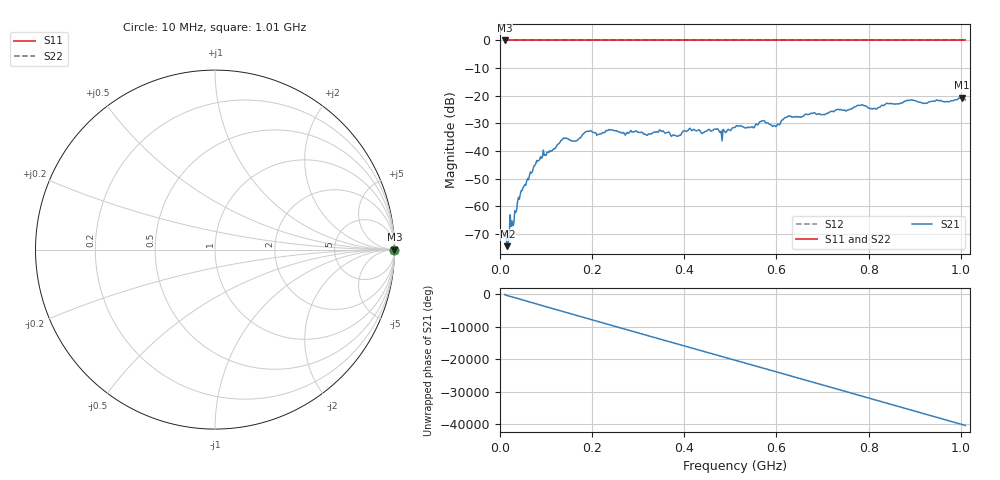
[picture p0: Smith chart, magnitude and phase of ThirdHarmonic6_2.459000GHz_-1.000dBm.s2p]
! 8/17/2025 4:26:54 AM
! C:\ANRITSUVNA\TEMP\TEMP.S2P
! CHANNEL.1
! TR.MEASUREMENT
! RAW.DATA
! RF.CORRECTION.OFF
! AVERAGING.OFF
! IF.BANDWIDTH: 5KHZ
! SWEEPTYPE:  FREQ.SWEEP(Linear)
! Reference Plane Port Info
! PORT:  PORT1  PORT2
! DISTANCE:  0  m  0  m
! TIME:  0  s  0  s
! PHASE.OFFSET:  0  deg.  0  deg.
! LOSS:  0  dB  0  dB
! REF.LOSS:  0  dB  0  dB
! REF.FREQ:  0  Hz  0  Hz
! Power Info
! POWER:  -20  dBm  -20  dBm
! EFF.POWER:  -20  dBm  -20  dBm
! SOURCE.ATTEN:  0  dB  0  dB
! TEST.ATTEN:  0  dB  0  dB
# GHZ S RI R 50.0
! FREQ.GHZ  S11RE  S11IM  S21RE  S21IM  S12RE  S12IM  S22RE  S22IM
!; PortSelection: Port_12
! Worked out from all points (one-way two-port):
!   501 points, 10 MHz to 1.01 GHz, reference 50 ohm
!   highest |S21| = -20.69 dB at 1.002 GHz (marker M1); lowest = -74.5 dB at 16 MHz (marker M2)
!   lowest |S11| = 0.0 dB at 10 MHz (marker M3)
!   |S11| at or under -10 dB: nowhere
!   |S22| runs from 0.0 to 0.0 dB; largest |S21 - S12| = 1.1
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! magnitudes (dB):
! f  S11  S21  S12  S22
! 10 MHz  0.0  -70.1  0.0  0.0
! 16 MHz  0.0  -74.5  0.0  0.0
! 42 MHz  0.0  -57.5  0.0  0.0
! 78 MHz  0.0  -44.4  0.0  0.0
! 136 MHz  0.0  -35.8  0.0  0.0
! 162 MHz  0.0  -36.4  0.0  0.0
! 178 MHz  0.0  -34.3  0.0  0.0
! 240 MHz  0.0  -32.5  0.0  0.0
! 316 MHz  0.0  -34.0  0.0  0.0
! 344 MHz  0.0  -33.0  0.0  0.0
! 386 MHz  0.0  -34.7  0.0  0.0
! 410 MHz  0.0  -32.1  0.0  0.0
! 486 MHz  0.0  -32.5  0.0  0.0
! 510 MHz  0.0  -31.5  0.0  0.0
! 548 MHz  0.0  -31.3  0.0  0.0
! 570 MHz  0.0  -29.1  0.0  0.0
! 596 MHz  0.0  -30.8  0.0  0.0
! 624 MHz  0.0  -27.5  0.0  0.0
! 678 MHz  0.0  -26.4  0.0  0.0
! 844 MHz  0.0  -22.9  0.0  0.0
! 1.002 GHz  0.0  -20.7  0.0  0.0
! 1.01 GHz  0.0  -21.5  0.0  0.0
